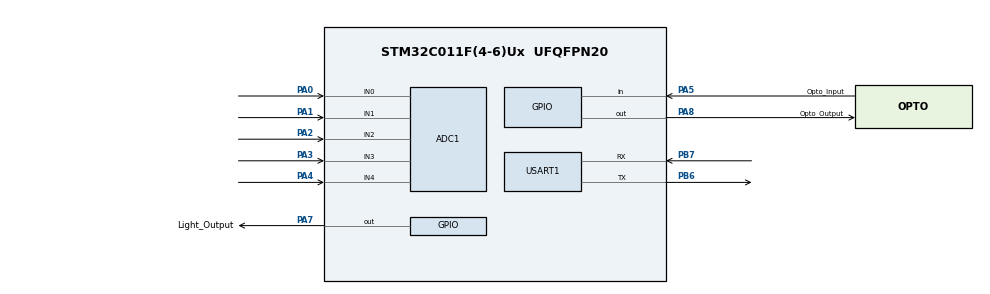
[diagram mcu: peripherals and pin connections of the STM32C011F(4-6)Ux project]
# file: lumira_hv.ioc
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ADC1.Channel-0\#ChannelRegularConversion=ADC_CHANNEL_VREFINT
ADC1.Channel-1\#ChannelRegularConversion=ADC_CHANNEL_TEMPSENSOR
ADC1.Channel-2\#ChannelRegularConversion=ADC_CHANNEL_0
ADC1.Channel-3\#ChannelRegularConversion=ADC_CHANNEL_1
ADC1.Channel-4\#ChannelRegularConversion=ADC_CHANNEL_2
ADC1.Channel-5\#ChannelRegularConversion=ADC_CHANNEL_3
ADC1.Channel-6\#ChannelRegularConversion=ADC_CHANNEL_4
ADC1.ClockPrescaler=ADC_CLOCK_ASYNC_DIV2
ADC1.ContinuousConvMode=DISABLE
ADC1.DMAContinuousRequests=ENABLE
ADC1.DiscontinuousConvMode=DISABLE
ADC1.EOCSelection=ADC_EOC_SEQ_CONV
ADC1.ExternalTrigConv=ADC_EXTERNALTRIG_T3_TRGO
ADC1.NbrOfConversion=7
ADC1.NbrOfConversionFlag=1
ADC1.OffsetNumber-5\#ChannelRegularConversion=ADC_OFFSET_NONE
ADC1.OffsetNumber-6\#ChannelRegularConversion=ADC_OFFSET_NONE
ADC1.Rank-0\#ChannelRegularConversion=1
ADC1.Rank-1\#ChannelRegularConversion=2
ADC1.Rank-2\#ChannelRegularConversion=3
ADC1.Rank-3\#ChannelRegularConversion=4
ADC1.Rank-4\#ChannelRegularConversion=5
ADC1.Rank-5\#ChannelRegularConversion=6
ADC1.Rank-6\#ChannelRegularConversion=7
ADC1.SamplingTime-0\#ChannelRegularConversion=ADC_SAMPLINGTIME_COMMON_2
ADC1.SamplingTime-1\#ChannelRegularConversion=ADC_SAMPLINGTIME_COMMON_2
ADC1.SamplingTime-2\#ChannelRegularConversion=ADC_SAMPLINGTIME_COMMON_1
ADC1.SamplingTime-3\#ChannelRegularConversion=ADC_SAMPLINGTIME_COMMON_1
ADC1.SamplingTime-4\#ChannelRegularConversion=ADC_SAMPLINGTIME_COMMON_1
ADC1.SamplingTime-5\#ChannelRegularConversion=ADC_SAMPLINGTIME_COMMON_1
ADC1.SamplingTime-6\#ChannelRegularConversion=ADC_SAMPLINGTIME_COMMON_1
ADC1.SamplingTimeCommon1=ADC_SAMPLETIME_1CYCLE_5
ADC1.SamplingTimeCommon2=ADC_SAMPLETIME_160CYCLES_5
ADC1.SelectedChannel=ADC_CHANNEL_0|ADC_CHANNEL_1|ADC_CHANNEL_2|ADC_CHANNEL_3|ADC_CHANNEL_4|ADC_CHANNEL_TEMPSENSOR|ADC_CHANNEL_VREFINT
ADC1.Sequencer=FULLY_CONFIGURABLE
ADC1.master=1
Dma.ADC1.0.Direction=DMA_PERIPH_TO_MEMORY
Dma.ADC1.0.EventEnable=DISABLE
Dma.ADC1.0.Instance=DMA1_Channel1
Dma.ADC1.0.MemDataAlignment=DMA_MDATAALIGN_HALFWORD
Dma.ADC1.0.MemInc=DMA_MINC_ENABLE
Dma.ADC1.0.Mode=DMA_CIRCULAR
Dma.ADC1.0.PeriphDataAlignment=DMA_PDATAALIGN_HALFWORD
Dma.ADC1.0.PeriphInc=DMA_PINC_DISABLE
Dma.ADC1.0.Polarity=HAL_DMAMUX_REQ_GEN_RISING
Dma.ADC1.0.Priority=DMA_PRIORITY_LOW
Dma.ADC1.0.RequestNumber=1
Dma.ADC1.0.SignalID=NONE
Dma.ADC1.0.SyncEnable=DISABLE
Dma.ADC1.0.SyncPolarity=HAL_DMAMUX_SYNC_NO_EVENT
Dma.ADC1.0.SyncRequestNumber=1
Dma.ADC1.0.SyncSignalID=NONE
Dma.Request0=ADC1
Mcu.Family=STM32C0
Mcu.Name=STM32C011F(4-6)Ux
Mcu.Package=UFQFPN20
NVIC.DMA1_Channel1_IRQn=true\:0\:0\:false\:false\:true\:false\:true\:true
NVIC.USART1_IRQn=true\:2\:0\:true\:false\:true\:true\:true\:true
PA0.Signal=SharedAnalog_PA0
PA1.Signal=SharedAnalog_PA1
PA2.Signal=SharedAnalog_PA2
PA3.Signal=SharedAnalog_PA3
PA4.Signal=SharedAnalog_PA4
PA5.GPIO_Label=Opto_Input
PA5.Signal=GPIO_Input
PA7.GPIO_Label=Light_Output
PA7.GPIO_Speed=GPIO_SPEED_FREQ_HIGH
PA7.Signal=GPIO_Output
PA8.GPIO_Label=Opto_Output
PA8.GPIO_ModeDefaultOutputPP=GPIO_MODE_OUTPUT_PP
PA8.GPIO_PuPd=GPIO_NOPULL
PA8.GPIO_Speed=GPIO_SPEED_FREQ_HIGH
PA8.PinState=GPIO_PIN_SET
PA8.Signal=GPIO_Output
PB6.Mode=Asynchronous
PB6.Signal=USART1_TX
PB7.Mode=Asynchronous
PB7.Signal=USART1_RX
ProjectManager.HeapSize=0x200
ProjectManager.StackSize=0x400
ProjectManager.TargetToolchain=STM32CubeIDE
RCC.ADCCLockSelection=RCC_ADCCLKSOURCE_HSIKER
RCC.ADCFreq_Value=24000000
RCC.AHBFreq_Value=48000000
RCC.CortexFreq_Value=48000000
RCC.EXTERNAL_CLOCK_VALUE=12288000
RCC.HCLKFreq_Value=48000000
RCC.HSE_VALUE=8000000
RCC.HSIKERCLKDivider=RCC_HSIKER_DIV2
RCC.HSISYSCLKDivider=RCC_HSI_DIV1
RCC.HSI_VALUE=48000000
RCC.LSE_VALUE=32768
RCC.SYSCLKFreq_VALUE=48000000
SH.SharedAnalog_PA0.0=GPIO_Analog
SH.SharedAnalog_PA0.1=ADC1_IN0,IN0
SH.SharedAnalog_PA1.0=GPIO_Analog
SH.SharedAnalog_PA1.1=ADC1_IN1,IN1
SH.SharedAnalog_PA2.0=GPIO_Analog
SH.SharedAnalog_PA2.1=ADC1_IN2,IN2
SH.SharedAnalog_PA3.0=GPIO_Analog
SH.SharedAnalog_PA3.1=ADC1_IN3,IN3
SH.SharedAnalog_PA4.0=GPIO_Analog
SH.SharedAnalog_PA4.1=ADC1_IN4,IN4
TIM3.Period=4799
TIM3.Prescaler=0
TIM3.TIM_MasterOutputTrigger=TIM_TRGO_UPDATE
USART1.VirtualMode-Asynchronous=VM_ASYNC
VP_ADC1_TempSens_Input.Mode=IN-TempSens
VP_ADC1_Vref_Input.Mode=IN-Vrefint
VP_TIM3_VS_ClockSourceINT.Mode=Internal
board=custom
ProjectManager.TargetToolchain=STM32CubeIDE
ProjectManager.TargetToolchain=STM32CubeIDE
ProjectManager.TargetToolchain=STM32CubeIDE
ProjectManager.TargetToolchain=STM32CubeIDE
ProjectManager.TargetToolchain=STM32CubeIDE

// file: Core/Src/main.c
/* USER CODE BEGIN Header */
/**
******************************************************************************
* @file           : main.c
* @brief          : Main program body
******************************************************************************
* @attention
*
* Copyright (c) 2026 STMicroelectronics.
* All rights reserved.
*
* This software is licensed under terms that can be found in the LICENSE file
* in the root directory of this software component.
* If no LICENSE file comes with this software, it is provided AS-IS.
*
******************************************************************************
* reminder:
* char - int8_t - 8 bits
* short - int16_t - 16 bits
* int or long - int32_t - 32 bits
* long long - int64_t - 64 bits, suffix LL
* there is no suffix for char or short.
* whether you leave blank or add the suffix L, #define ends up being int16
*******************************************************************************
* the MCU has 5 programable exit from reset voltages:
*      VBORR4, VBORR3, VBORR2, VBORR1 and VPOR
*      3V, 2.68V, 2.38V, 2.18V, 1.98V
* the MCU has 5 programmable entry into reset voltages:
*      VBORF4, VBORF3, VBORF2, VBORF1 and VPDR
*      2.7V, 2.4V, 2.2V, 1.95V, 1.88V
* by default VPOR and VPDR apply.
* to enable the other levels, the BOR module must be enabled.
*******************************************************************************
* there are 960000, 48MHz cycles in 50Hz, or 480000 in a half cycle.
* there are 800000, 48MHz cycles in 60Hz, or 400000 in a half cycle.
* here is a list of common divisors of 480000 and 400000:
*
* divisor    period
*            (ns)
* 1            20.8333
* 2            41.6666
* 4            83.3333
* 5           104.1666
* 8           166.6666
* 10          208.3333
* 16          333.3333
* 20          416.6666
* 25          520.8333
* 32          666.6666
* 40          833.3333
* 50         1041.6666
* 64         1333.3333
* 80         1666.6666
* 100        2083.3333
* 125        2604.1666
* 128        2666.6666
* 160        3333.3333
* 200        4166.6666
* 250        5208.3333
* 320        6666.6666
* 400        8333.3333
* 500        1041.6666
* 625       13020.8333
* 640       13333.3333
* 800       16666.6666
* 1000      20833.3333
* 1250      26041.6666
* 1600      33333.3333
* 2000      41666.6666
* 2500      52083.3333
* 3125      65104.1666
* 3200      66666.6666
* 4000      83333.3333
* 5000     104166.6666
* 6250     130208.3333
* 8000     166666.6666
* 10000    208333.3333
* 20000    416666.6666
* 40000    833333.3333
* 80000   1666666.6666
********************************************************************************
* use these variable prefixes c = 8 bit
*                             s = 16 bit
*                             i = 32 bit
*                             l = 64 bit
*                             v = volatile
********************************************************************************
*/
/* USER CODE END Header */
#include "main.h"
#include "adc.h"
#include "dma.h"
#include "tim.h"
#include "usart.h"
#include "gpio.h"

/* USER CODE BEGIN Includes */
#include <string.h>
#include <stdio.h>
#include <math.h>
/* USER CODE END Includes */

/* USER CODE BEGIN PD */
//#define SYSCLK_HZ (48000000UL)
//#define SAMPLE_PERIOD_US (100UL)
//#define SAMPLE_TIMER_ARR ((SYSCLK_HZ / 1000000UL) * SAMPLE_PERIOD_US - 1UL) /* 4800-1 to give 100us period */
//#define BAUD_RATE_U 115200UL // user defined baud rate bits per second, each byte takes 87us.
#define END_PRINT_CYCLES_ST 5000 // print period in sample time increments, at 83.3333us sample rate can pretty
                                 // much print one character per sample.
                                 // we want to accumulate 256 samples and then print something like 2000 x 2 characters.
                                 // We need 4256 sample intervals to finish doing that.
                                 // see notes below about the print logic.

#define END_BUFFER_CYCLES_ST 256
#define PRINT_BUFFER_SIZE 20     // only needs to hold two value at a time

//#define ADC_SEQ_LEN (7U)
//#define N_RMS (128U)
#define FIFTY_SIXTY_HZ_THRESHOLD_ST10 2200 // sample interval is 83.3333us,
                                           // this counts a full cycle.
                                           // there are 120 of these in one 50Hz half cycle and 100 in 60Hz.
                                           // unit is 10ths of a sample interval
#define FIFTY_HZ_COUNTS_ST 120 // number of sample intervals in a 50Hz half cycle
#define SIXTY_HZ_COUNTS_ST 100 // number of sample intervals in a 60Hz half cycle
#define FIFTY_HZ_DEFAULT_DUTY 120
#define SIXTY_HZ_DEFAULT_DUTY 100
#define DEAD_BAND_ST 60 // after we detect a zero crossing, do not look for another one until at least this many sample intervals
#define MAX_PERIOD_ADJUSTMENT_ST 1 // the maximum number of sample periods we are allowed to adjust the mains frequency by each half cycle

/* placeholders - adjust to your hardware scaling */
#define ADC_REF_VOLT (3.3)
#define ADC_MAX_COUNTS (4095)
#define NEUTRAL_ADC_COUNTS (2048)

#define ADC_NUM_CH 7U
// #define ADC_FRAMES 8U
// #define ADC_DATA_BUFFER_SIZE (ADC_NUM_CH * ADC_FRAMES)
#define ADC_DELAY_CALIB_ENABLE_CPU_CYCLES (LL_ADC_DELAY_CALIB_ENABLE_ADC_CYCLES * 32)
#define VDDA_APPLI 3300U
#define TEST_VOLTAGE_mV 3000 // the MCU Vrefint is factory calibrated with this supply in milivolts
#define MSG_BUFFER_SIZE 2000 // has to be able to hold 256, 4 digit values, plus \r\n, that's 1536 characters.

// variables to implement the filters intended to remove offset from readings
// we want to attenuate 50Hz from a peak amplitude of 730 counts to 0.25 counts
// nominally 68s time constant when sample interval is 83us
#define ZERO_FILTER_MULTIPLIER_MINUS_ONE 131071
#define ZERO_FILTER_SHIFTS 17

// voltage and current filter constants
// woth shift of 2 delay is about 1 sample interval
// with shift of 3 delay is about 3 sample intervals and could probably get away with 2 sample intervals to make an estimate of slope
// sift of 4 is reasonably smooth output, but it introduces a delay of about 15 sample intervals
// a version with a sift 3 filter and look forward 4 voltage was tried but not better than shift 2 filter by its self
// a shift 2 filter seems to give a max zero crossing delay of about 4 sample intervals.
// additionaly we need to add protection for zero crossing bounce.

// use this setting for normal run mode
#define RUN_FILTER_MULTIPLIER_MINUS_ONE 3
#define RUN_FILTER_SHIFTS 2

// #define FILTER_MULTIPLIER_MINUS_ONE 15
// #define FILTER_SHIFTS 4

// #define FILTER_MULTIPLIER_MINUS_ONE 31
// #define FILTER_SHIFTS 5

// use this setting to pick up mains frequency
#define INIT_FILTER_MULTIPLIER_MINUS_ONE 63
#define INIT_FILTER_SHIFTS 6

/* USER CODE END PD */

/* USER CODE BEGIN PV */
/* State Variables only used in this file */
volatile uint8_t ucv_Stage;  // 3 is the first cycle that is ignored
                             // 2 means nothing aquired
                             // 1 means one rising edge on mains detected
                             // 0 means two rising edges on mains detected and we are ready to proceed
volatile uint8_t ucv_AState; // active state, 1 positive, 0 negative
volatile uint8_t ucv_DeadTime; // 1 after transition detected, 0 other times
                               // using dead time to set min half cycle duration as well as preventing contact bounce when frequency detecting
volatile uint8_t ucv_LeadingEdge; // 1 when set to leading edge, 0 when set to trailing edge
int16_t s_Nominal_Half_Period_ST; // remembers whether we are in a 50Hz or 60Hz system.
int16_t s_Half_Period_Counter_ST; // counts sample intervals in some current half cycle.

/* Variables only used in this file */
uint16_t us_voltageRawValue[ADC_NUM_CH];
int32_t i_ADCCurrentFilt; // not volatile because only used in ISR

/* Global state variables */
__IO uint8_t ucv_adcDmaTransferStatus; // 3 = buffer, 2 = print complete or wait, 1 = full transfer or print, 0 = half transfer, __IO is same as volatile
// __IO uint8_t ucv_AdcStatus = 1; // 1 sets ready to read temperature, 2 sets ready to read Vrefint
// __IO uint16_t usv_PrintCounter = 0; // when us_PrintCounter reaches PRINT_PERIOD_ST
                                                  // ISR internal values are copied to printable values
                                                  // Printing must finish before usv_PrintCounter
                                                  // finishes counting up again.
                                                  // DMA data processing needs to finish within one sample interval.
__IO uint16_t usvp_Period_Counter_ST10; // counts the period of some current cycle in 10ths of a sample interval.
	                                    // using increments of 10 because we want to filter this
	                                    // so increments of 10 gives more filter resolution
/* Global variables */
/* some variables are volatile because we want them to persist and be initialized at startup. */
/* others are volatile because they are copied out of the ISR to the print routine in main, those ones have a suffixe p as well as v */

__IO uint8_t ucv_switchState; // 1 on 0 off
__IO uint8_t ucv_switchStateRequest; // 1 on 0 off, the dynamic request veriable
__IO uint8_t ucv_SwitchCycleStateRequest; // 1 on 0 off, but can only be set at start of half cycle
__IO uint8_t ucv_WasLow;
__IO int16_t sv_Duty_ST; // duty measured in sample intervals

__IO uint16_t usvp_ADCTemperatureReading;
__IO uint16_t usvp_ADCVrefintReading;
__IO int16_t svp_ADCCurrent;
__IO int16_t svp_ADCVoltage;
__IO int16_t svp_ADCLoadVoltage;
__IO int16_t svp_ADCSenseVoltage;

__IO int32_t iv_CurrentZero;
__IO int32_t iv_AZero;
__IO int32_t iv_SAZero;
__IO int32_t iv_VrefintAv;
__IO int32_t iv_TempAv;
__IO int32_t iv_CurrentSQ;
__IO int32_t iv_ASQ; // active voltage
__IO int32_t iv_P; // power
__IO int64_t lv_E;

__IO uint16_t usv_Count;

__IO size_t sizev_len;
__IO int16_t sv_ValueBuffer1[((uint16_t)END_BUFFER_CYCLES_ST)];
__IO int16_t sv_ValueBuffer2[((uint16_t)END_BUFFER_CYCLES_ST)];

__IO uint8_t ucv_FilterState; // for filter use: 1 not first, 2 is first

/* USER CODE END PV */

void SystemClock_Config(void);

/* USER CODE BEGIN PFP */
static void USART1_Write(const char *s);
void ADC_Calibration_Start(void);
void ADC_DMA_Start(void);
void TIM_Base_Start(void);
void OutputProcessing(void);
void RightShiftFilter(int32_t *, int32_t *, int32_t, int32_t, int32_t);

// void AdcDmaTransferComplete_Callback(void) prototype in main.h
// void AdcDmaTransferError_Callback(void) //called from ISR, prototype in main.h
// void Error_Handler(void) // prototype in main.h
// void assert_failed(uint8_t *file, uint32_t line) // prototype in stm32_assert.h

/* USER CODE END PFP */

int main(void)
{

  /* USER CODE BEGIN 1 */
  // uint32_t ui_startIndex = 0;
  uint16_t us_vrefint_cal = *VREFINT_CAL_ADDR; // the internal calibration value to calibrate the MCU supply
  uint32_t ui_main_temp;
  uint16_t us_AppSupply_mV; // measured on one device as being 3.35V.
  char cc_buf[PRINT_BUFFER_SIZE]; // has to be able to hold 1 signed 16 bit integer plus a \r and \n.
  /* USER CODE END 1 */

  /* MCU Configuration--------------------------------------------------------*/

  /* Reset of all peripherals, Initializes the Flash interface and the Systick. */
  LL_APB2_GRP1_EnableClock(LL_APB2_GRP1_PERIPH_SYSCFG);
  LL_APB1_GRP1_EnableClock(LL_APB1_GRP1_PERIPH_PWR);

  /* SVC_IRQn interrupt configuration */
  NVIC_SetPriority(SVCall_IRQn, 3);
  /* PendSV_IRQn interrupt configuration */
  NVIC_SetPriority(PendSV_IRQn, 3);
  /* SysTick_IRQn interrupt configuration */
  NVIC_SetPriority(SysTick_IRQn, 3);

  /* Configure the system clock */
  SystemClock_Config();

  /* initialize measurements, do this before initializing peripherals because these variables get used in the ISRs */

  /* initialize mains state */
  ucv_Stage = ((uint8_t)2); // starting in stage 2 to reduce code, no need to start in stage 3
  ucv_AState = ((uint8_t)1); // choose a positive active line as the state to start
  ucv_DeadTime = 0; // 1 after transition detected for 1/4 cycle
  ucv_LeadingEdge = 1; // set to leading edge

  ucv_adcDmaTransferStatus = ((uint8_t)2); // 3 = buffer, 2 = print complete or wait, 1 = full transfer or print, 0 = half transfer
  usv_Count = ((uint16_t) END_PRINT_CYCLES_ST) - ((uint16_t) 1);
  sizev_len = 0;

  ucv_FilterState = 2; // first

  /* Initialize all configured peripherals */
  MX_GPIO_Init();
  MX_DMA_Init();
  MX_USART1_UART_Init();
  MX_ADC1_Init();
  MX_TIM3_Init();
  /* USER CODE BEGIN 2 */
  ADC_Calibration_Start();
  ADC_DMA_Start();
  TIM_Base_Start();

  /* USER CODE END 2 */

  /* Infinite loop */
  /* USER CODE BEGIN WHILE */

  // char cc_buf[MSG_BUFFER_SIZE];

  while (1)
  {
    /* print */
	if (ucv_adcDmaTransferStatus == 1) // // 3 = buffer, 2 = print complete or wait, 1 = full transfer or print, 0 = half transfer
    {
      // uint8_t st = ucv_adcDmaTransferStatus;

      // ui_startIndex = (st == 1) ? ADC_DATA_BUFFER_SIZE / 2 : 0;

      // snprintf(cc_buf, sizeof(cc_buf),
      //          "ADC (%s): ch0=%u ch1=%u ch2=%u ch3=%u ch4=%u\r\n",
      //          (st == 0) ? "HT" : "TC",
      //          ch0, ch1, ch2, ch3, ch4);

      // snprintf(cc_buf, sizeof(cc_buf),
      //        "Vref=%u Temp=%u current=%d av=%d sav=%d sv=%d\r\n",
      //        usvp_ADCVrefintReading, usvp_ADCTemperatureReading, svp_ADCCurrent, svp_ADCVoltage, svp_ADCLoadVoltage, svp_ADCSenseVoltage);

      // snprintf(cc_buf, sizeof(cc_buf),
      //        "Vref=%u Temp=%u current=%d av=%d sav=%d sv=%d period=%u\r\n",
      //        usvp_ADCVrefintReading, usvp_ADCTemperatureReading, svp_ADCCurrent, svp_ADCVoltage, svp_ADCLoadVoltage, svp_ADCSenseVoltage, usvp_Period_Counter_ST10);

      ui_main_temp = ((uint32_t)us_vrefint_cal) * ((uint32_t)TEST_VOLTAGE_mV);
      ui_main_temp = ui_main_temp / ((uint32_t)usvp_ADCVrefintReading);
      us_AppSupply_mV = ((uint16_t)ui_main_temp);

      // snprintf(cc_buf, sizeof(cc_buf),
      //         "Vdd(mV)=%u Temp=%u current=%d av=%d sav=%d sv=%d period=%u\r\n",
	  // 	    us_AppSupply_mV, usvp_ADCTemperatureReading, svp_ADCCurrent, svp_ADCVoltage, svp_ADCLoadVoltage, svp_ADCSenseVoltage, usvp_Period_Counter_ST10);

      //snprintf(cc_buf, sizeof(cc_buf),
      //        "Vdd(mV)=%u Temp=%u current=%d av=%d sav=%d sv=%d period=%u\r\n",
	  //	    us_AppSupply_mV, usvp_ADCTemperatureReading, svp_ADCCurrent, svp_ADCVoltage, svp_ADCLoadVoltage, svp_ADCSenseVoltage, usvp_Period_Counter_ST10);

      // if print state is set to PRINT, move values into print buffer, print buffer and then set the print state to WAIT

      for (uint16_t us_Index = 0; us_Index<END_BUFFER_CYCLES_ST ; us_Index++)
      {
    	  // load the buffer
          snprintf(cc_buf, sizeof(cc_buf),
                   "%d,%d\r\n", sv_ValueBuffer1[us_Index], sv_ValueBuffer2[us_Index]);
          // print the buffer
          USART1_Write(cc_buf);
      }

      // add one more carrage return line feed
      snprintf(cc_buf, sizeof(cc_buf),
               "\r\n");
      // print the buffer
      USART1_Write(cc_buf);

      ucv_adcDmaTransferStatus = 2; // means wait to start another print cycle
    }

    /* slow down printing so UART keeps up */
    // LL_mDelay(200); // 200 ms

    //******* stuff to do with input processing
    if (LL_GPIO_IsInputPinSet(GPIOA, Opto_Input_Pin)) // if high no input
    {
    	// do nothing
    	ucv_WasLow = 0;
    }
    else // if low there may be an input
    {
    	if (ucv_WasLow == ((uint8_t)1)) // there was already an input last sample interval as well
    	{
    	    if (ucv_switchStateRequest == ((uint8_t)1)) // output last requested on
            {
                if (ucv_switchState == ((uint8_t)1)) // and it is on
                {
            	    ucv_switchStateRequest = ((uint8_t)0); // request it off
                }
                else // it is off
                {
                	// do nothing
                }
            }
            else // output last requested off
            {
                if (ucv_switchState == ((uint8_t)1)) // and it is on
                {
                	// do nothing
                }
                else // it is off
                {
                	ucv_switchStateRequest = ((uint8_t)1); // request it on
                }
            }
        }
        else // first time this is low
        {
        	ucv_WasLow = ((uint8_t)1);
        }
    }
  } // end while

  /* USER CODE END WHILE */

}

void SystemClock_Config(void)
{

  LL_FLASH_SetLatency(LL_FLASH_LATENCY_1);

  /* HSI configuration and activation */
  LL_RCC_HSI_Enable();
  while(LL_RCC_HSI_IsReady() != 1)
  {
  }

  LL_RCC_HSI_SetCalibTrimming(64);
  LL_RCC_SetHSIDiv(LL_RCC_HSI_DIV_1);
  LL_RCC_SetHSIKERDiv(LL_RCC_HSIKER_DIV_2);
  /* Set AHB prescaler*/
  LL_RCC_SetAHBPrescaler(LL_RCC_HCLK_DIV_1);

  /* Sysclk activation on the HSI */
  LL_RCC_SetSysClkSource(LL_RCC_SYS_CLKSOURCE_HSI);
  while(LL_RCC_GetSysClkSource() != LL_RCC_SYS_CLKSOURCE_STATUS_HSI)
  {
  }

  /* Set APB1 prescaler*/
  LL_RCC_SetAPB1Prescaler(LL_RCC_APB1_DIV_1);
  LL_Init1msTick(48000000);
  /* Update CMSIS variable (which can be updated also through SystemCoreClockUpdate function) */
  LL_SetSystemCoreClock(48000000);
}

/* USER CODE BEGIN 4 */
void ADC_Calibration_Start(void)
{
  __IO uint32_t wait_loop_index = 0U;
  __IO uint32_t backup_setting_adc_dma_transfer = 0U;

  // Check if ADC is disabled
  if (LL_ADC_IsEnabled(ADC1) == 0)
  {
    LL_ADC_EnableInternalRegulator(ADC1);
    // Delay for ADC Internal voltage regulator stabilisation
    wait_loop_index = (LL_ADC_DELAY_INTERNAL_REGUL_STAB_US * (SystemCoreClock / (100000 * 2)) / 10);

    while (wait_loop_index != 0)
    {
      wait_loop_index--;
    }

    /* Disable ADC DMA transfer request during calibration */
    backup_setting_adc_dma_transfer = LL_ADC_REG_GetDMATransfer(ADC1);
    LL_ADC_REG_SetDMATransfer(ADC1, LL_ADC_REG_DMA_TRANSFER_NONE);

    /* Run ADC self calibration */
    LL_ADC_StartCalibration(ADC1);

    /* Poll for ADC effectively calibrated */
    wait_loop_index = (ADC_DELAY_CALIB_ENABLE_CPU_CYCLES >> 1);
    while (LL_ADC_IsCalibrationOnGoing(ADC1) != 0)
    {
      /* Check Systick counter flag to decrement the time-out value */
      if (LL_SYSTICK_IsActiveCounterFlag())
      {
        if (wait_loop_index-- == 0)
        {
          /* Time-out occurred */
        }
      }
    }
    /* Restore ADC DMA transfer request after calibration */
    LL_ADC_REG_SetDMATransfer(ADC1, backup_setting_adc_dma_transfer);
  }
}

void ADC_DMA_Start(void)
{
  /* Configure the source and the destination address */
  /* extracts the address of the DMA buffer */
  LL_DMA_ConfigAddresses(DMA1, LL_DMA_CHANNEL_1, LL_ADC_DMA_GetRegAddr(ADC1, LL_ADC_DMA_REG_REGULAR_DATA), (uint32_t)us_voltageRawValue, LL_DMA_DIRECTION_PERIPH_TO_MEMORY);

  /* Set the Data Length */
  LL_DMA_SetDataLength(DMA1, LL_DMA_CHANNEL_1, ADC_NUM_CH);

  /* Enable DMA Transfer Interruption : Transfer complete, Half transfer, Error Transfer */
  LL_DMA_EnableIT_TC(DMA1, LL_DMA_CHANNEL_1);
  LL_DMA_DisableIT_HT(DMA1, LL_DMA_CHANNEL_1);
  LL_DMA_EnableIT_TE(DMA1, LL_DMA_CHANNEL_1);

  /* Enable DMA Channel */
  LL_DMA_EnableChannel(DMA1, LL_DMA_CHANNEL_1);

  /* Enable the ADC and start the conversion*/
  LL_ADC_Enable(ADC1);
  while (LL_ADC_IsActiveFlag_ADRDY(ADC1) == 0)
  {
  }
  LL_ADC_ClearFlag_ADRDY(ADC1);
  LL_ADC_REG_StartConversion(ADC1);
}

void AdcDmaTransferComplete_Callback(void) //called from DMA ISR, this is the main sample interval routine
{
  static int16_t s_Period_Counter_ST10; // counts the period of some current cycle in 10ths of a sample interval.
	                                     // using increments of 10 because we want to filter this
	                                     // so increments of 10 gives more filter resolution
  static int32_t i_Period_st10; // the filtered value of mains period, always from positive going edge, in 10ths of a sample interval.

  /* get DMA transfered ADC values */
  // us_voltageRawValue[0]; // vrefint
  // us_voltageRawValue[1]; // temperature
  // us_voltageRawValue[2]; // current
  // us_voltageRawValue[3]; // neutral v
  // us_voltageRawValue[4]; // sens voltage
  // us_voltageRawValue[5]; // active voltage
  // us_voltageRawValue[6]; // load voltage
  int32_t i_ADCCurrent;
  int32_t i_ADCVoltage;
  int32_t i_ADCLoadVoltage;
  int32_t i_ADCSenseVoltage;
  int32_t i_ADCTemperatureReading;
  int32_t i_ADCVrefintReading;

  static int32_t i_ADCVoltageFilt;
  static int32_t i_ADCLoadVoltageFilt;
  static int32_t i_ADCSenseVoltageFilt;
  static int32_t i_ADCCurrentRemainder;
  static int32_t i_ADCVoltageRemainder;
  static int32_t i_ADCLoadVoltageRemainder;
  static int32_t i_ADCSenseVoltageRemainder;

  static int32_t i_FilterMultiplierToUse;
  static int32_t i_FilterShiftsToUse;

  static int32_t i_CurrentZero;
  static int32_t i_AZero;
  static int32_t i_SAZero;
  static int32_t i_CurrentRemainder;
  static int32_t i_ActiveRemainder;
  static int32_t i_SwitchedActiveRemainder;

  //*********
  // note below operations are performed on non volatile versions of variables
  // run period filter, not here but when each cycle is finished

  i_ADCCurrent = ((int32_t) us_voltageRawValue[2]) - ((int32_t) NEUTRAL_ADC_COUNTS);
  i_ADCVoltage = ((int32_t) us_voltageRawValue[5]) - ((int32_t) us_voltageRawValue[3]);
  i_ADCLoadVoltage = ((int32_t) us_voltageRawValue[6]) - ((int32_t) us_voltageRawValue[3]);
  i_ADCSenseVoltage = ((int32_t) us_voltageRawValue[4]) - ((int32_t) us_voltageRawValue[3]);
  i_ADCTemperatureReading = ((int32_t)us_voltageRawValue[1]);
  i_ADCVrefintReading = ((int32_t)us_voltageRawValue[0]);

  /* unfiltered output values */
  // run isquared filter ********
  iv_CurrentSQ = ((int32_t)i_ADCCurrent) * i_ADCCurrent;
  // run vsquared filter ********
  iv_ASQ = i_ADCVoltage * i_ADCVoltage;
  // run p filter ********
  iv_P = i_ADCCurrent * i_ADCVoltage;
  // run Vrefint filter ********
  iv_VrefintAv = i_ADCVrefintReading;
  // run Temperature filter ********
  iv_TempAv = i_ADCTemperatureReading;
  // acumulate energy
  lv_E = lv_E + ((int64_t)iv_P);

  /****************************************************/
  /* manage filtered values                           */
  /* so far only removing offset from 3 main channels */
  /****************************************************/
  if (ucv_FilterState == 2) // first sample interval
  {
	  ucv_FilterState = 1; // not first

      i_CurrentZero = 0;
      i_AZero = 0;
      i_SAZero = 0;
      i_CurrentRemainder = 0;
      i_ActiveRemainder = 0;
      i_SwitchedActiveRemainder = 0;
      i_ADCCurrentFilt = i_ADCCurrent;
      i_ADCVoltageFilt = i_ADCVoltage;
      i_ADCLoadVoltageFilt = i_ADCLoadVoltage;
      i_ADCSenseVoltageFilt = i_ADCSenseVoltage;
      i_ADCCurrentRemainder = 0;
      i_ADCVoltageRemainder = 0;
      i_ADCLoadVoltageRemainder = 0;
      i_ADCSenseVoltageRemainder = 0;
      i_FilterMultiplierToUse = INIT_FILTER_MULTIPLIER_MINUS_ONE;
      i_FilterShiftsToUse = INIT_FILTER_SHIFTS;

  }
  else if (ucv_FilterState == 1) // not first
  {
	  // run Izero filter
	  RightShiftFilter(&i_CurrentZero, &i_CurrentRemainder, i_ADCCurrent, ((int32_t)ZERO_FILTER_MULTIPLIER_MINUS_ONE), ((int32_t)ZERO_FILTER_SHIFTS));

	  // run AZero filter
	  RightShiftFilter(&i_AZero, &i_ActiveRemainder, i_ADCVoltage, ((int32_t)ZERO_FILTER_MULTIPLIER_MINUS_ONE), ((int32_t)ZERO_FILTER_SHIFTS));

	  // run SAzero filter
	  RightShiftFilter(&i_SAZero, &i_SwitchedActiveRemainder, i_ADCLoadVoltage, ((int32_t)ZERO_FILTER_MULTIPLIER_MINUS_ONE), ((int32_t)ZERO_FILTER_SHIFTS));

	  // we remove the zeros offsets that were derived from the raw adc readings,
	  // but now we used the adjusted adc readings - the ones without offset in them - to come up with filtered version of them
	  // adjust current readings
      i_ADCCurrent = i_ADCCurrent - i_CurrentZero;
      // adjust v reading
      i_ADCVoltage = i_ADCVoltage - i_AZero;
      // adjust sa reading
      i_ADCLoadVoltage = i_ADCLoadVoltage - i_SAZero;

	  // run I filter
      RightShiftFilter(&i_ADCCurrentFilt, &i_ADCCurrentRemainder, i_ADCCurrent, i_FilterMultiplierToUse, i_FilterShiftsToUse);

      // run A filter
	  RightShiftFilter(&i_ADCVoltageFilt, &i_ADCVoltageRemainder, i_ADCVoltage, i_FilterMultiplierToUse, i_FilterShiftsToUse);

      // run SA filter
	  RightShiftFilter(&i_ADCLoadVoltageFilt, &i_ADCLoadVoltageRemainder, i_ADCLoadVoltage, i_FilterMultiplierToUse, i_FilterShiftsToUse);

      // run Sense V filter
	  RightShiftFilter(&i_ADCSenseVoltageFilt, &i_ADCSenseVoltageRemainder, i_ADCSenseVoltage, i_FilterMultiplierToUse, i_FilterShiftsToUse);
  }

  /*   The State Machine  */
  /* so far implemented is leading edge switching */
  /* leading edge switching not fully implemented yet */
  /* to do leading edge properly, we should check the load current before turning off at the start of a cycle *******/
  if (ucv_Stage == ((uint8_t)2)) // first stage just looking for the first true neg to pos transition
  {
	  if (ucv_AState == ((uint8_t)1)) // mains was positive
	  {
		  /* test what state ********/
		  // LL_GPIO_SetOutputPin(Opto_Output_GPIO_Port, Opto_Output_Pin);
          if (i_ADCVoltageFilt > 0) // active still positive
          {
               // do nothing
          }
          else // active changed to negative
          {
               ucv_AState = ((uint8_t)0);
          }
	  }
	  else // mains was negative
	  {
          if (i_ADCVoltageFilt > 0) // active changed to positive
          {
    		   /* test what state ********/
    		   // LL_GPIO_SetOutputPin(Opto_Output_GPIO_Port, Opto_Output_Pin);
               ucv_AState = 1;
               ucv_Stage = 1; // progress to next stage
               ucv_DeadTime = 1;
               s_Period_Counter_ST10 = ((int16_t)10); // the sample interval that just started is the first
               s_Half_Period_Counter_ST = ((int16_t)1); // the first interval of the half cycle
               // don't need to count half cycles yet
          }
          else // active still negative
          {
               // do nothing
    	       /* test what state ********/
    	       // LL_GPIO_ResetOutputPin(Opto_Output_GPIO_Port, Opto_Output_Pin);
          }
	  }
  }
  else if (ucv_Stage == ((uint8_t)1)) // first rising mains edge detected, now doing frequency selection
  {
	  if (ucv_AState == ((uint8_t)1)) // mains was positive
	  {
		  if (ucv_DeadTime == 1) // we are in the dead time
		  {
			  // increment counter
        	  s_Half_Period_Counter_ST = s_Half_Period_Counter_ST + 1;
	          if (s_Half_Period_Counter_ST >= ((int16_t) DEAD_BAND_ST)) // not in dead band any more
	          {
	        	  ucv_DeadTime = 0;
	          }
	          else // in dead band
	          {
	        	  // do nothing
	          }
		  }
		  else // not in dead time, can look for another edge
		  {
	          if (i_ADCVoltageFilt > 0) // active still positive
              {
	              // increment counter
	        	  s_Half_Period_Counter_ST = s_Half_Period_Counter_ST + 1;
              }
              else // active changed to negative
              {
        		  /* test what state ********/
        		  // LL_GPIO_ResetOutputPin(Opto_Output_GPIO_Port, Opto_Output_Pin);
                  ucv_AState = ((uint8_t)0);
                  ucv_DeadTime = 1; // new dead time period
            	  s_Half_Period_Counter_ST = 1;
              }
	      }
    	  s_Period_Counter_ST10 = s_Period_Counter_ST10 + ((int16_t)10);
	  }
	  else // mains was negative
	  {
		  if (ucv_DeadTime == 1) // we are in the dead time
		  {
			  // increment counters
        	  s_Half_Period_Counter_ST = s_Half_Period_Counter_ST + 1;
        	  s_Period_Counter_ST10 = s_Period_Counter_ST10 + ((int16_t)10);
	          if (s_Half_Period_Counter_ST >= ((int16_t) DEAD_BAND_ST)) // not in dead band any more
	          {
	        	  ucv_DeadTime = 0;
	          }
		  }
		  else // not in dead time, can look for another edge
		  {
              if (i_ADCVoltageFilt > 0) // active changed to positive, uh oh, stage change
              {
        		  /* test what state ********/
        		  // LL_GPIO_SetOutputPin(Opto_Output_GPIO_Port, Opto_Output_Pin);
            	  // end of stage 1, we now know the frequency
            	  // we are in a new period
            	  // how many sample ingtervals did we count in previous period
            	  if (s_Period_Counter_ST10 > ((int16_t)FIFTY_SIXTY_HZ_THRESHOLD_ST10)) // if 50Hz detected
            	  {
            		  s_Nominal_Half_Period_ST = ((int16_t) FIFTY_HZ_COUNTS_ST);
            		  sv_Duty_ST = ((int16_t) FIFTY_HZ_DEFAULT_DUTY); // set duty
            	  }
            	  else // 60Hz detected
            	  {
            		  s_Nominal_Half_Period_ST = ((int16_t) SIXTY_HZ_COUNTS_ST);
            		  sv_Duty_ST = ((int16_t) SIXTY_HZ_DEFAULT_DUTY); // set duty
            	  }
            	  // initialize the filtered period counter variable, i_Period_st10 is just for reporting, we don't use it in the state machine.
            	  i_Period_st10 = ((int32_t)s_Period_Counter_ST10);
            	  s_Period_Counter_ST10 = ((int16_t)10);
            	  s_Half_Period_Counter_ST = ((uint16_t)1);
                  ucv_AState = ((uint8_t)1);
                  ucv_Stage = 0; // progress to next stage
                  ucv_DeadTime = 1;
                  // turn the switch on or off, only do this here because we are actually already in the next stage
                  OutputProcessing();
                  // we had the mains filters set to a high filter value to get a reliable frequency
                  // but now that we have frequency, we need to dial back the filter to favour speed instead
                  // the active high low state will be out for a bit but it will correct its self within about 1s.
                  i_FilterMultiplierToUse = RUN_FILTER_MULTIPLIER_MINUS_ONE;
                  i_FilterShiftsToUse = RUN_FILTER_SHIFTS;
              }
              else // active still negative, no stage change
              {
            	  // increment counters
	         	  s_Period_Counter_ST10 = s_Period_Counter_ST10 + ((int16_t)10);
	        	  s_Half_Period_Counter_ST = s_Half_Period_Counter_ST + 1;
              }
	      }
	  }
  }
  else // normal run mode
  {
	  if (ucv_AState == ((uint8_t)1)) // mains was positive
	  {
		  // increment counter to current one always because both positive and negative half cycle are part of cycle
    	  s_Period_Counter_ST10 = s_Period_Counter_ST10 + ((int16_t)10);
		  if (ucv_DeadTime == 1) // we are in the dead time
		  {
              // increment counter to the current one
        	  s_Half_Period_Counter_ST = s_Half_Period_Counter_ST + 1;
			  // if not in dead band any more, note dead band extends for almost the entire half cycle
	          if (s_Half_Period_Counter_ST >= (s_Nominal_Half_Period_ST-((int16_t)MAX_PERIOD_ADJUSTMENT_ST)))
	          {
	        	  ucv_DeadTime = 0;
	          }
		  }
		  else // not in dead time, can look for another edge, and we may have gone beyond Nominal Half Period length
		  {
    	      if (i_ADCVoltageFilt > 0) // active still positive, still in positive half period
              {
    	    	  // check for max number of sample intervals
    	    	  // if half cycle extends beyond adjustment range, we want to force a stage change
    	    	  if (s_Half_Period_Counter_ST >= (s_Nominal_Half_Period_ST+((int16_t)MAX_PERIOD_ADJUSTMENT_ST))) // we have gone beyond max permissible half period count
	        	  {
    	    		  /* test what state ********/
    	    		  // LL_GPIO_ResetOutputPin(Opto_Output_GPIO_Port, Opto_Output_Pin);
	        		  // we have gone beyond max half period counts, force new half cycle
    	        	  s_Half_Period_Counter_ST = ((uint16_t)1);
    	        	  ucv_AState = 0;
    	        	  ucv_DeadTime = 1;
	        	  }
	        	  else
	        	  {
	        		  // not last, keep counting
	                  // increment to current sample interval
	    	    	  s_Half_Period_Counter_ST = s_Half_Period_Counter_ST + ((uint16_t)1);
    	    	  }
              }
              else // active changed to negative, so that's the end of the half period, we are now in the next half period
              {
        		  /* test what state ********/
        		  // LL_GPIO_ResetOutputPin(Opto_Output_GPIO_Port, Opto_Output_Pin);
	        	  s_Half_Period_Counter_ST = ((uint16_t)1);
	        	  ucv_AState = 0;
	        	  ucv_DeadTime = 1;
              }
	      }
	  }
	  else // mains was negative
	  {
		  if (ucv_DeadTime == 1) // we are in the dead time
		  {
			  // increment counters
        	  s_Half_Period_Counter_ST = s_Half_Period_Counter_ST + 1;
        	  s_Period_Counter_ST10 = s_Period_Counter_ST10 + ((int16_t)10);
        	  // if not in dead band any more, note dead band extends for almost the entire half cycle
			  if (s_Half_Period_Counter_ST >= (s_Nominal_Half_Period_ST-((int16_t)MAX_PERIOD_ADJUSTMENT_ST))) // not in dead band any more
	          {
	        	  ucv_DeadTime = 0;
	          }
		  }
		  else // not in dead time, can look for another edge, and we may have gone beyond Nominal Half Period length
		  {
              if (i_ADCVoltageFilt > 0) // active changed to positive
              {
        		  /* test what state ********/
        		  // LL_GPIO_SetOutputPin(Opto_Output_GPIO_Port, Opto_Output_Pin);
            	  // run the period filter *******
            	  i_Period_st10 = ((int32_t)s_Period_Counter_ST10);
            	  // start of a new cycle
    	    	  s_Half_Period_Counter_ST = ((uint16_t)1);
	        	  s_Period_Counter_ST10 = ((int16_t)10);
	        	  ucv_AState = 1;
	        	  ucv_DeadTime = 1;
              }
              else // active still negative, still in negative half period
              {
    	    	  // check for max number of sample intervals
    	    	  // if half cycle extends beyond adjustment range, we want to force a stage change
    	    	  if (s_Half_Period_Counter_ST >= (s_Nominal_Half_Period_ST+((int16_t)MAX_PERIOD_ADJUSTMENT_ST))) // we have gone beyond max permissible half period count
	        	  {
    	    		  /* test what state ********/
    	    		  // LL_GPIO_SetOutputPin(Opto_Output_GPIO_Port, Opto_Output_Pin);
	        		  // we have gone beyond max half period counts, force new half cycle
                	  // run the period filter *******
                	  i_Period_st10 = ((int32_t)s_Period_Counter_ST10);
                	  // start of a new cycle
        	    	  s_Half_Period_Counter_ST = ((uint16_t)1);
    	        	  s_Period_Counter_ST10 = ((int16_t)10);
    	        	  ucv_AState = 1;
    	        	  ucv_DeadTime = 1;
	        	  }
	        	  else
	        	  {
	        		  // not last, keep counting
	                  // increment to current sample interval
	    	    	  s_Half_Period_Counter_ST = s_Half_Period_Counter_ST + ((uint16_t)1);
	            	  s_Period_Counter_ST10 = s_Period_Counter_ST10 + ((int16_t)10);
    	    	  }
              }
		  }
	  }
	  /* check whether we need to turn on */
	  OutputProcessing();
  }

  // print logic is as follows:
  // in this ISR routine do this:
  // at start up print state is set to WAIT and count is set to END_PRINT_CYCLES
  // count is incremented every sample interval
  // when count gets to END_PRINT_CYCLES value, count is reset to zero and the print state is set to BUFFER
  // the print buffer is a printable string, it is not an array of values
  // when the print state is set to BUFFER, a new value is added to the print buffer and we check to see if count has reached END_BUFFER_CYCLE
  // when count reaches END_BUFFER_CYCLES, print state is changed to PRINT
  // in the main routine do this:
  // if print state is set to PRINT, print the print buffer and then set the print state to WAIT
  // notes:
  // count is continually counting sample intervals, if we want to accumulate 256 sample values of a variable, it will take 256 sample intervals
  // however, it will take time after that to print those values if we don't want to double buffer them
  // consequently ENT_PRINT_CYCLES has to allow enough time to accumulate the samples and print them to avoid over running the print buffer before printing has finished
  // this routine outputs a sequence of any nominated variable that changes from sample to sample
  // it does not control when in the mains cycle to start saving values and it does not save a continuous stream of values
  // but the values in each sample run are continuous
  // we want to use this to see what the waveforms look like for each ADC channel

  /* buffer values to print */
  // count
  usv_Count = usv_Count + ((uint16_t)1);
  // if count = big value, set count to 0, set state to buffer, reset len
  if (usv_Count == ((uint16_t) END_PRINT_CYCLES_ST)) // end of long count
  {
	  usv_Count = 0;
	  sizev_len = 0;
	  ucv_adcDmaTransferStatus = ((uint8_t)3); // 3 = buffer, 2 = print complete or wait, 1 = full transfer or print, 0 = half transfer
  }
  // if state is buffer
  //     add value to print buffer
  //     if count = small value, set state to print
  if (ucv_adcDmaTransferStatus == ((uint8_t)3)) // if buffering
  {
      // add a value to the print buffer
	  sv_ValueBuffer1[usv_Count] = ((int16_t)i_ADCCurrent); // active
	  sv_ValueBuffer2[usv_Count] = ((int16_t)i_ADCCurrentFilt); // neutral
	  if (usv_Count == (((uint16_t) END_BUFFER_CYCLES_ST) - ((uint16_t)1))) // if buffering finished
	  {
		  ucv_adcDmaTransferStatus = ((uint8_t)1); // finished buffering, set state to print
	  }
  }

  /* send string to printer */
  //if (usv_PrintCounter == ((uint8_t) PRINT_PERIOD_ST)) // if want to print this time
  //{
  //  svp_ADCCurrent = i_ADCCurrent;
  //  svp_ADCVoltage = i_ADCVoltage;
  //  svp_ADCLoadVoltage = i_ADCLoadVoltage;
  //  svp_ADCSenseVoltage = i_ADCSenseVoltage;
  //  usvp_ADCTemperatureReading = i_ADCTemperatureReading;
  //  usvp_ADCVrefintReading = i_ADCVrefintReading;
  //  ucv_adcDmaTransferStatus = 1; // 0 is half transfer, 1 is full transfer, 2 print complete
  //  usv_PrintCounter = 0;
  //  usvp_Period_Counter_ST10 = ((uint16_t)i_Period_st10);
  //}
  //else
  //{
  //  usv_PrintCounter = usv_PrintCounter + 1;
  //}

}

// this implements the Y(n)=(1-alpha)Y(n-1)+alphaX(n) single pole filter
// where alpha is a power of 2, thus avoiding having to do a divide
// we need to keep track of remainders to avoid the shift to a smaller magnitude bias that the right shift would otherwise introduce
void RightShiftFilter(int32_t *i_FilterObject, int32_t *i_RemainderObject, int32_t i_NewValue, int32_t i_FilterMultiplierMinusOne, int32_t i_Shift)
{
	int32_t i_RSFTemp1;
	int32_t i_RSFTemp2;
	int32_t i_Sign;
	int32_t i_Magnitude;

	// multiply-accumulate
	i_RSFTemp1 = (i_FilterMultiplierMinusOne * *i_FilterObject) + i_NewValue + *i_RemainderObject;
	// save sign
    i_Sign = (i_RSFTemp1 >= 0) ? 1 : -1;
	// save absolute value
	i_Magnitude = (i_RSFTemp1 < 0) ? -i_RSFTemp1 : i_RSFTemp1;
	// divide
	i_RSFTemp1 = i_Magnitude >> i_Shift;
	// get new remainder
	i_RSFTemp2 = i_Magnitude & ((1 << i_Shift) - 1); // picks out the low bits of Magnitude
	// restore sign
	*i_FilterObject = i_Sign * i_RSFTemp1;
    // restore remainder sign
	*i_RemainderObject = i_Sign * i_RSFTemp2;
}

void OutputProcessing(void)
{
	// when this routine is called the half period counter should have the number of the sample interval that we are about to enter
	// when it is 1 we are about to enter the first sample interval of the current half cycle
	// if it is 1 it means that we have just detected the polarity of the mains has changed state
	int16_t s_OPTemp;

    // clamp the half period counter
    if (s_Half_Period_Counter_ST > s_Nominal_Half_Period_ST)
    {
    	 s_OPTemp = s_Nominal_Half_Period_ST;
    }
    else
    {
    	 s_OPTemp = s_Half_Period_Counter_ST;
    }
    if (ucv_LeadingEdge == 1) // Leading edge. with leading edge turn on any time but only turn off after end of half cycle after current goes to zero.
    	                      // So we are permitted to turn off if the switch was only on because current was lingering from last cycle.
    	                      // And we can not turn off if the next on part of the cycle has started.
    	                      // If these two overlap then we wouldn't be able to tell why we are on because the current signal is very noisy.
    	                      // Consequently we need to make a decision at the start of the cycle whether this cycle is an on or an off cycle.
    {
    	if (s_OPTemp == 1) // at zero crossing
    	{
    	    if (ucv_switchStateRequest == ((uint8_t)1)) // if commanded on
    	    {
    	    	ucv_SwitchCycleStateRequest = 1;
    	    }
    	    else
    	    {
    	    	ucv_SwitchCycleStateRequest = 0;
    	    }
    	}
    	else // not at zero crossing
    	{
    		// cant change ucv_SwitchCycleStateRequest
    	}
        if (ucv_SwitchCycleStateRequest == 1) // if current cycle is a requested on cycle
	    {
        	if (ucv_switchState == 1) // if it is on
        	{
        	    if (s_OPTemp > (s_Nominal_Half_Period_ST - sv_Duty_ST)) // if it should be on in latter duty part of cycle
        	    {
	                // do nothing
        	    }
        	    else // it should be off leading (1-duty) part of cycle turn it off when we can
        	    {
                    if (ucv_AState == 1) // if in positive half cycle
                    {
                        if (i_ADCCurrentFilt > 0) // if current is greater than zero
                        {
                            // turn off
                            ucv_switchState = ((uint8_t)0);
	       	                LL_GPIO_ResetOutputPin(Light_Output_GPIO_Port, Light_Output_Pin);
                        }
                        else // else current is not greater than zero
                        {
                            // do nothing
                        }
                    }
                    else // else in negative half cycle
                    {
                        if (i_ADCCurrentFilt < 0) // if current is less than zero
                        {
                            // turn off
                            ucv_switchState = ((uint8_t)0);
	      	                LL_GPIO_ResetOutputPin(Light_Output_GPIO_Port, Light_Output_Pin);
                        }
                        else // else current is not less than zero
                    	{
                            // do nothing
                    	}
                    }
        	    }
        	}
        	else // it is off
        	{
        	    if (s_OPTemp > (s_Nominal_Half_Period_ST - sv_Duty_ST)) // if it should be on in latter duty part of cycle
        	    {
                    // turn it on
                    ucv_switchState = ((uint8_t)1);
                    LL_GPIO_SetOutputPin(Light_Output_GPIO_Port, Light_Output_Pin);
        	    }
        	    else // else it should be off in leading (1-duty) part of cycle
        	    {
                    // do nothing
        	    }
        	}
	    }
	    else // if current cycle is a requested off cycle
        {
	        if (ucv_switchState == 1) // if it is on turn it off when we can
	    	{
      	    	// it doesn't matter whether we are in the duty or (1-duty) part of the cycle,
      	    	// if this is a requested off cycle, then we need to turn it off when we can.
	   		    if (ucv_AState == 1) // if in positive half cycle
	   		    {
	   	    		if (i_ADCCurrentFilt > 0) // if current is greater than zero
	   	    		{
                        // turn off
                        ucv_switchState = ((uint8_t)0);
                        LL_GPIO_ResetOutputPin(Light_Output_GPIO_Port, Light_Output_Pin);
	  	    		}
	   	    		else // else current is not greater than zero
	   	    		{
                        // do nothing
	   	    		}
	   	    	}
	   	    	else // else in negative half cycle
	   	    	{
	   		       	if (i_ADCCurrentFilt < 0) // if current is less than zero
	   		     	{
                        // turn off
                        ucv_switchState = ((uint8_t)0);
   	  	                LL_GPIO_ResetOutputPin(Light_Output_GPIO_Port, Light_Output_Pin);
	 	    		}
	   	    		else // else current is not less than zero
	   	    		{
                        // do nothing
	   	    		}
	   	    	}
   	    	}
	    	else // it is off
	    	{
   	      	    // do nothing
	    	}
        }
    }
    else // trailing edge. with trailing edge turn off any time but only turn on at start of half cycle
    {
    	// the below if about zero crossing and setting ucv_SwitchCycleStateRequest isn't needed or used in the trailing edge case
    	// but we have added it here so that it is in the correct state.
    	if (s_OPTemp == 1) // at zero crossing
    	{
    	    if (ucv_switchStateRequest == ((uint8_t)1)) // if commanded on
    	    {
    	    	ucv_SwitchCycleStateRequest = 1;
    	    }
    	    else
    	    {
    	    	ucv_SwitchCycleStateRequest = 0;
    	    }
    	}
    	else // not at zero crossing
    	{
    		// cant change ucv_SwitchCycleStateRequest
    	}
 	    if (ucv_switchStateRequest == ((uint8_t)1)) // if commanded on
        {
		    if (ucv_switchState == 1) // if it is on
		    {
	            if (s_OPTemp > sv_Duty_ST) // if it should be off in latter (1-duty) part of cycle
	            {
	                // turn off
                    ucv_switchState = ((uint8_t)0);
                    LL_GPIO_ResetOutputPin(Light_Output_GPIO_Port, Light_Output_Pin);
	            }
	            else // else it should be on in leading duty part of cycle
	            {
                    // do nothing, it should be on
	            }
		    }
		    else // else it is off turn on when we can
		    {
	            if (s_OPTemp > sv_Duty_ST) // if it should be off in in latter (1-duty) part of cycle
	            {
                    // do nothing, it should be off
	            }
	            else // else it should be on in leading duty part of cycle
	            {
	        	    if (s_OPTemp == 1) // at zero crossing
	        	    {
                        // turn it on
                        ucv_switchState = ((uint8_t)1);
                        LL_GPIO_SetOutputPin(Light_Output_GPIO_Port, Light_Output_Pin);
	        	    }
	        	    else // not at zero crossing
	        	    {
                        // do nothing
	        	    }
	            }
		    }
	    }
	    else // else commanded off
	    {
		    if (ucv_switchState == 1) // if it is on
		    {
	            // turn off
                ucv_switchState = ((uint8_t)0);
                LL_GPIO_ResetOutputPin(Light_Output_GPIO_Port, Light_Output_Pin);
		    }
		    else // else it is off
		    {
                // do nothing
		    }
	    }
    }
}

//void AdcDmaTransferHalf_Callback() //called from DMA ISR
//{
//  ucv_adcDmaTransferStatus = 0;
//}

void AdcDmaTransferError_Callback(void) //called from ISR
{
}

void TIM_Base_Start(void)
{
  LL_TIM_EnableCounter(TIM3);
}

void USART1_Write(const char *s)
{
  while (*s)
  {
    while (!LL_USART_IsActiveFlag_TXE(USART1))
    {
    }
    LL_USART_TransmitData8(USART1, (uint8_t)*s++);
  }
}
/* USER CODE END 4 */

void Error_Handler(void)
{
  __disable_irq();
  while (1)
  {
  }
}
